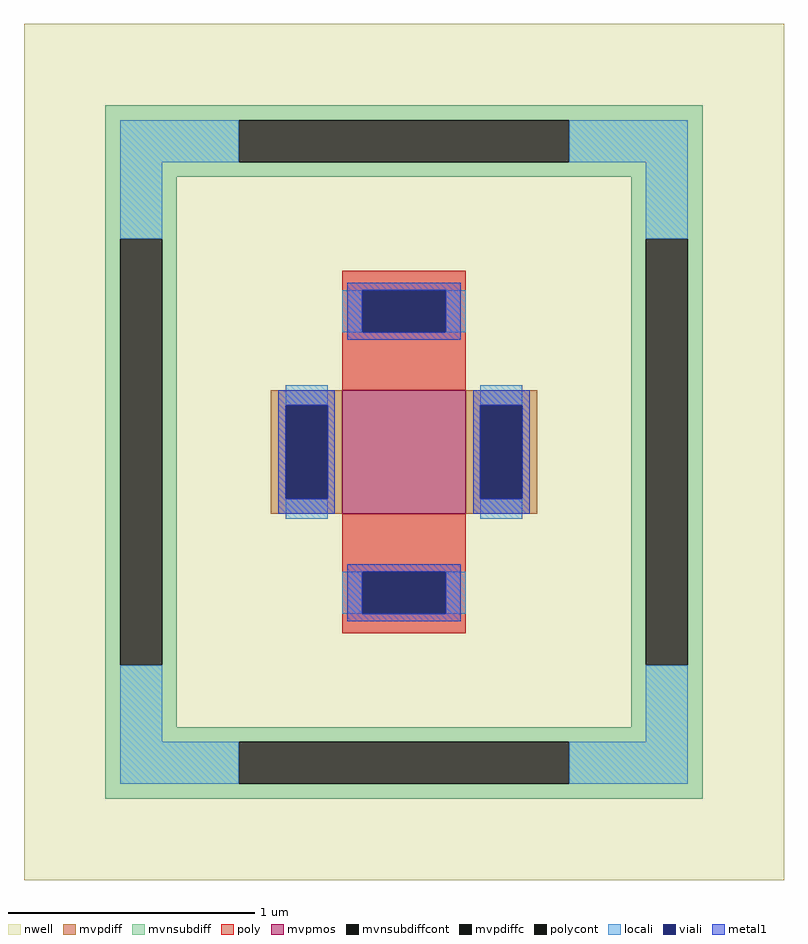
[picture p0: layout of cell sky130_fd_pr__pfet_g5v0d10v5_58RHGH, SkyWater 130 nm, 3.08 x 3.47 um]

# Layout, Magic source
magic
tech sky130A
magscale 1 2
<< nwell >>
rect -308 -347 308 347
<< mvpmos >>
rect -50 -50 50 50
<< mvpdiff >>
rect -108 38 -50 50
rect -108 -38 -96 38
rect -62 -38 -50 38
rect -108 -50 -50 -38
rect 50 38 108 50
rect 50 -38 62 38
rect 96 -38 108 38
rect 50 -50 108 -38
<< mvpdiffc >>
rect -96 -38 -62 38
rect 62 -38 96 38
<< mvnsubdiff >>
rect -242 269 242 281
rect -242 235 -134 269
rect 134 235 242 269
rect -242 223 242 235
rect -242 173 -184 223
rect -242 -173 -230 173
rect -196 -173 -184 173
rect 184 173 242 223
rect -242 -223 -184 -173
rect 184 -173 196 173
rect 230 -173 242 173
rect 184 -223 242 -173
rect -242 -235 242 -223
rect -242 -269 -134 -235
rect 134 -269 242 -235
rect -242 -281 242 -269
<< mvnsubdiffcont >>
rect -134 235 134 269
rect -230 -173 -196 173
rect 196 -173 230 173
rect -134 -269 134 -235
<< poly >>
rect -50 131 50 147
rect -50 97 -34 131
rect 34 97 50 131
rect -50 50 50 97
rect -50 -97 50 -50
rect -50 -131 -34 -97
rect 34 -131 50 -97
rect -50 -147 50 -131
<< polycont >>
rect -34 97 34 131
rect -34 -131 34 -97
<< locali >>
rect -230 235 -134 269
rect 134 235 230 269
rect -230 173 -196 235
rect 196 173 230 235
rect -50 97 -34 131
rect 34 97 50 131
rect -96 38 -62 54
rect -96 -54 -62 -38
rect 62 38 96 54
rect 62 -54 96 -38
rect -50 -131 -34 -97
rect 34 -131 50 -97
rect -230 -235 -196 -173
rect 196 -235 230 -173
rect -230 -269 -134 -235
rect 134 -269 230 -235
<< viali >>
rect -34 97 34 131
rect -96 -38 -62 38
rect 62 -38 96 38
rect -34 -131 34 -97
<< metal1 >>
rect -46 131 46 137
rect -46 97 -34 131
rect 34 97 46 131
rect -46 91 46 97
rect -102 38 -56 50
rect -102 -38 -96 38
rect -62 -38 -56 38
rect -102 -50 -56 -38
rect 56 38 102 50
rect 56 -38 62 38
rect 96 -38 102 38
rect 56 -50 102 -38
rect -46 -97 46 -91
rect -46 -131 -34 -97
rect 34 -131 46 -97
rect -46 -137 46 -131
<< properties >>
string FIXED_BBOX -213 -252 213 252
string gencell sky130_fd_pr__pfet_g5v0d10v5
string library sky130
string parameters w 0.50 l 0.50 m 1 nf 1 diffcov 100 polycov 100 guard 1 glc 1 grc 1 gtc 1 gbc 1 tbcov 100 rlcov 100 topc 1 botc 1 poverlap 0 doverlap 1 lmin 0.50 wmin 0.42 compatible {sky130_fd_pr__pfet_01v8  sky130_fd_pr__pfet_01v8_lvt sky130_fd_pr__pfet_01v8_hvt  sky130_fd_pr__pfet_g5v0d10v5} full_metal 1 viasrc 100 viadrn 100 viagate 100 viagb 0 viagr 0 viagl 0 viagt 0
<< end >>
